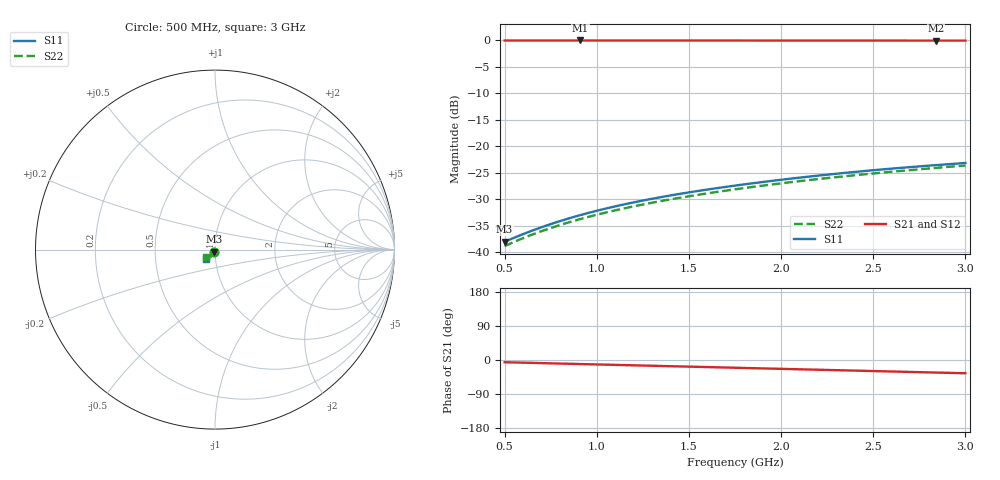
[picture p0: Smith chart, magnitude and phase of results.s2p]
! rfsim (KiCad + openEMS)
# HZ S RI R 50
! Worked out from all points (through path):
!   251 points, 500 MHz to 3 GHz, reference 50 ohm
!   highest |S21| = -0.04 dB at 910 MHz (marker M1); lowest = -0.1 dB at 2.84 GHz (marker M2)
!   group delay of S21, straight-line fit = 32.4 ps
!   lowest |S11| = -38.0 dB at 500 MHz (marker M3), VSWR 1.03, Z = 49.5 - j1.17 ohm
!   |S11| at or under -10 dB: start of sweep to end of sweep
!   |S22| runs from -38.8 to -23.6 dB; largest |S21 - S12| = 0.008
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5e8  -0.00439 -0.0118  0.9893 -0.1018  0.9902 -0.1028  -0.00417 -0.0107
5.4e8  -0.00458 -0.0127  0.9886 -0.1096  0.9894 -0.111  -0.00439 -0.0115
5.9e8  -0.00483 -0.0138  0.9877 -0.1194  0.9883 -0.1211  -0.00468 -0.0126
6.4e8  -0.00512 -0.015  0.9867 -0.1293  0.987 -0.1313  -0.00501 -0.0136
6.9e8  -0.00544 -0.0161  0.9856 -0.1393  0.9856 -0.1414  -0.00537 -0.0147
7.4e8  -0.0058 -0.0173  0.9843 -0.1494  0.9842 -0.1515  -0.00576 -0.0158
8e8  -0.00629 -0.0187  0.9825 -0.1614  0.9822 -0.1637  -0.00628 -0.017
9.1e8  -0.00733 -0.0213  0.9788 -0.1836  0.9782 -0.1859  -0.00735 -0.0193
9.2e8  -0.00744 -0.0215  0.9784 -0.1856  0.9778 -0.1879  -0.00746 -0.0195
1.02e9  -0.00856 -0.0237  0.9743 -0.2057  0.9736 -0.208  -0.00858 -0.0215
1.12e9  -0.00982 -0.0259  0.9697 -0.2256  0.9689 -0.228  -0.00982 -0.0234
1.23e9  -0.0113 -0.0282  0.9641 -0.2473  0.9633 -0.2499  -0.0113 -0.0255
1.34e9  -0.013 -0.0304  0.958 -0.2688  0.9573 -0.2716  -0.0129 -0.0274
1.43e9  -0.0144 -0.0321  0.9528 -0.2862  0.952 -0.2893  -0.0143 -0.029
1.53e9  -0.016 -0.0339  0.9466 -0.3054  0.9457 -0.3088  -0.016 -0.0306
1.75e9  -0.02 -0.0377  0.9318 -0.3473  0.9305 -0.3512  -0.02 -0.0339
1.95e9  -0.024 -0.0408  0.9167 -0.3848  0.915 -0.3891  -0.024 -0.0366
2.17e9  -0.0287 -0.0437  0.8982 -0.4256  0.8961 -0.43  -0.0287 -0.0391
2.38e9  -0.0336 -0.046  0.8786 -0.4635  0.8762 -0.4683  -0.0336 -0.041
2.59e9  -0.0388 -0.0477  0.8573 -0.5002  0.8548 -0.5055  -0.0388 -0.0424
2.84e9  -0.045 -0.049  0.8306 -0.5422  0.8273 -0.5485  -0.0452 -0.0434
3e9  -0.049 -0.0496  0.8131 -0.5689  0.8084 -0.5755  -0.0495 -0.0437
